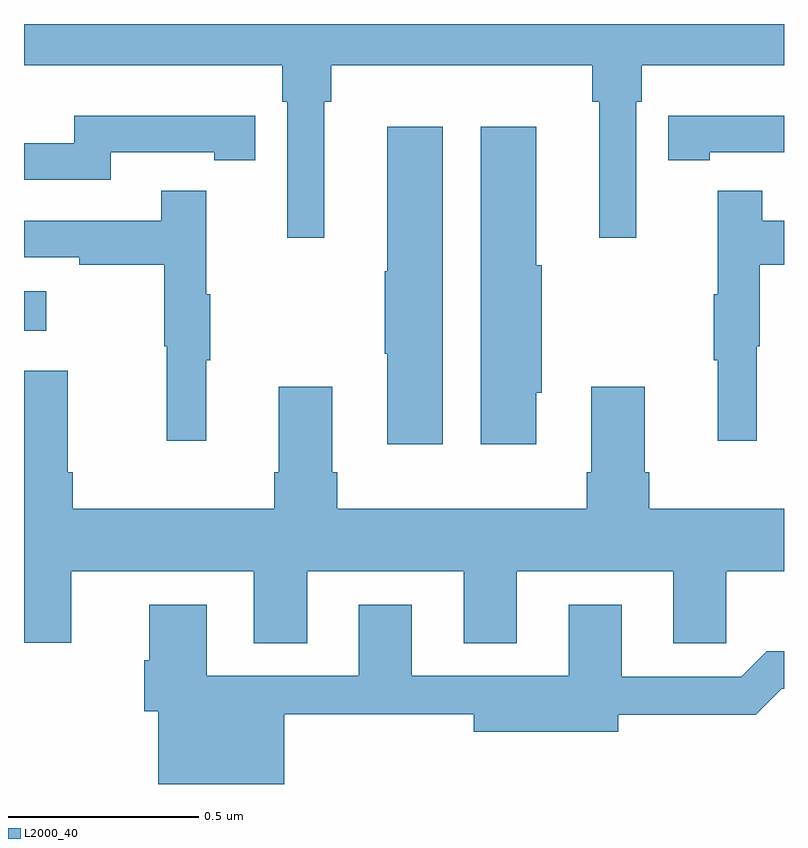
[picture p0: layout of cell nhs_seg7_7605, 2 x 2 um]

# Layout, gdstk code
import gdstk
lib = gdstk.Library(unit=1e-6, precision=1e-09)
def R(c, l, rs):  # rectangles x0, y0, x1, y1
    for r in rs: c.add(gdstk.rectangle(r[:2], r[2:], *l))
def P(c, l, *ps):  # polygons
    for p in ps: c.add(gdstk.Polygon(p, *l))
L2000_40 = (2000, 40)

nhs_seg7_7605 = lib.new_cell('nhs_seg7_7605')
R(nhs_seg7_7605, L2000_40, [(213,1057.193,213.058,1057.297)])
P(nhs_seg7_7605, L2000_40, [(213.79,1057.796),(213.809,1057.796),(213.809,1057.892),(214.495,1057.892),(214.495,1057.796),(214.514,1057.796),(214.514,1057.437),(214.611,1057.437),(214.611,1057.796),(214.625,1057.796),(214.625,1057.892),(215,1057.892),(215,1058),(213,1058),(213,1057.892),(213.68,1057.892),(213.68,1057.796),(213.693,1057.796),(213.693,1057.437),(213.79,1057.437)],
  [(213.228,1057.662),(213.5,1057.662),(213.5,1057.642),(213.608,1057.642),(213.608,1057.758),(213.5,1057.758),(213.5,1057.759),(213.132,1057.759),(213.132,1057.686),(213,1057.686),(213,1057.59),(213.228,1057.59)],
  [(214.804,1057.662),(215,1057.662),(215,1057.759),(214.804,1057.759),(214.804,1057.758),(214.696,1057.758),(214.696,1057.642),(214.804,1057.642)],
  [(214.348,1057.029),(214.363,1057.029),(214.363,1057.365),(214.348,1057.365),(214.348,1057.729),(214.202,1057.729),(214.202,1056.894),(214.348,1056.894)],
  [(214.102,1057.729),(213.956,1057.729),(213.956,1057.349),(213.949,1057.349),(213.949,1057.132),(213.956,1057.132),(213.956,1056.894),(214.102,1056.894)],
  [(214.928,1057.152),(214.936,1057.152),(214.936,1057.366),(215,1057.366),(215,1057.482),(214.943,1057.482),(214.943,1057.561),(214.826,1057.561),(214.826,1057.289),(214.815,1057.289),(214.815,1057.115),(214.826,1057.115),(214.826,1056.903),(214.928,1056.903)],
  [(213.479,1057.115),(213.49,1057.115),(213.49,1057.289),(213.479,1057.289),(213.479,1057.561),(213.361,1057.561),(213.361,1057.482),(213,1057.482),(213,1057.386),(213.145,1057.386),(213.145,1057.366),(213.369,1057.366),(213.369,1057.152),(213.376,1057.152),(213.376,1056.903),(213.479,1056.903)],
  [(213.745,1056.56),(214.157,1056.56),(214.157,1056.37),(214.297,1056.37),(214.297,1056.56),(214.709,1056.56),(214.709,1056.37),(214.848,1056.37),(214.848,1056.56),(215,1056.56),(215,1056.724),(214.646,1056.724),(214.646,1056.82),(214.633,1056.82),(214.633,1057.045),(214.493,1057.045),(214.493,1056.82),(214.481,1056.82),(214.481,1056.724),(213.824,1056.724),(213.824,1056.82),(213.811,1056.82),(213.811,1057.045),(213.671,1057.045),(213.671,1056.82),(213.659,1056.82),(213.659,1056.724),(213.128,1056.724),(213.128,1056.82),(213.115,1056.82),(213.115,1057.087),(213,1057.087),(213,1056.372),(213.124,1056.372),(213.124,1056.56),(213.605,1056.56),(213.605,1056.37),(213.745,1056.37)],
  [(213.685,1056.184),(214.184,1056.184),(214.184,1056.137),(214.564,1056.137),(214.564,1056.182),(214.925,1056.182),(214.994,1056.251),(215,1056.251),(215,1056.349),(214.954,1056.349),(214.887,1056.282),(214.573,1056.282),(214.573,1056.472),(214.433,1056.472),(214.433,1056.285),(214.021,1056.285),(214.021,1056.472),(213.881,1056.472),(213.881,1056.285),(213.481,1056.285),(213.481,1056.472),(213.329,1056.472),(213.329,1056.326),(213.317,1056.326),(213.317,1056.192),(213.353,1056.192),(213.353,1056),(213.685,1056)])

lib.write_gds('nhs_seg7_7605.gds')
